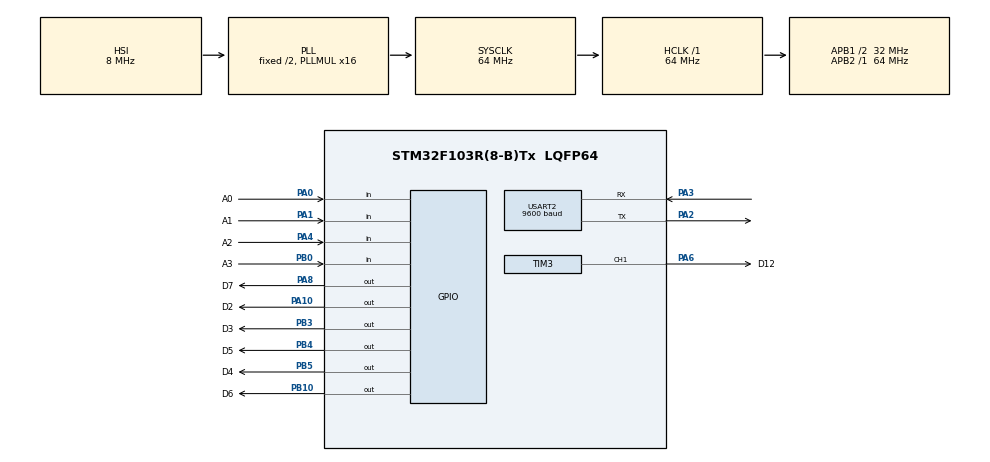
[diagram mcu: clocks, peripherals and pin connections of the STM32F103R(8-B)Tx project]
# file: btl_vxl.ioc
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Mcu.Family=STM32F1
Mcu.Name=STM32F103R(8-B)Tx
Mcu.Package=LQFP64
NVIC.PriorityGroup=NVIC_PRIORITYGROUP_4
NVIC.TIM2_IRQn=true\:0\:0\:false\:false\:true\:true\:true
NVIC.USART2_IRQn=true\:0\:0\:false\:false\:true\:true\:true
PA0-WKUP.GPIO_Label=A0
PA0-WKUP.GPIO_PuPd=GPIO_PULLUP
PA0-WKUP.Signal=GPIO_Input
PA1.GPIO_Label=A1
PA1.GPIO_PuPd=GPIO_PULLUP
PA1.Signal=GPIO_Input
PA10.GPIO_Label=D2
PA10.Signal=GPIO_Output
PA13.Mode=Serial_Wire
PA13.Signal=SYS_JTMS-SWDIO
PA14.Mode=Serial_Wire
PA14.Signal=SYS_JTCK-SWCLK
PA2.Mode=Asynchronous
PA2.Signal=USART2_TX
PA3.Mode=Asynchronous
PA3.Signal=USART2_RX
PA4.GPIO_Label=A2
PA4.GPIO_PuPd=GPIO_PULLUP
PA4.Signal=GPIO_Input
PA6.GPIO_Label=D12
PA6.Signal=S_TIM3_CH1
PA8.GPIO_Label=D7
PA8.Signal=GPIO_Output
PB0.GPIO_Label=A3
PB0.GPIO_PuPd=GPIO_PULLUP
PB0.Signal=GPIO_Input
PB10.GPIO_Label=D6
PB10.Signal=GPIO_Output
PB3.GPIO_Label=D3
PB3.Signal=GPIO_Output
PB4.GPIO_Label=D5
PB4.Signal=GPIO_Output
PB5.GPIO_Label=D4
PB5.Signal=GPIO_Output
ProjectManager.HeapSize=0x200
ProjectManager.StackSize=0x400
ProjectManager.TargetToolchain=STM32CubeIDE
RCC.AHBFreq_Value=64000000
RCC.APB1CLKDivider=RCC_HCLK_DIV2
RCC.APB1Freq_Value=32000000
RCC.APB1TimFreq_Value=64000000
RCC.APB2Freq_Value=64000000
RCC.APB2TimFreq_Value=64000000
RCC.HCLKFreq_Value=64000000
RCC.PLLMUL=RCC_PLL_MUL16
RCC.SYSCLKFreq_VALUE=64000000
RCC.SYSCLKSource=RCC_SYSCLKSOURCE_PLLCLK
RCC.USBFreq_Value=64000000
SH.S_TIM3_CH1.0=TIM3_CH1,PWM Generation1 CH1
TIM2.Period=10
TIM2.Prescaler=63999
TIM3.Channel-PWM\ Generation1\ CH1=TIM_CHANNEL_1
USART2.BaudRate=9600
USART2.VirtualMode=VM_ASYNC
VP_TIM2_VS_ClockSourceINT.Mode=Internal
VP_TIM3_VS_ClockSourceINT.Mode=Internal
board=custom

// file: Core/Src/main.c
/* USER CODE BEGIN Header */
/**
  ******************************************************************************
  * @file           : main.c
  * @brief          : Main program body
  ******************************************************************************
  * @attention
  *
  * <h2><center>&copy; Copyright (c) 2022 STMicroelectronics.
  * All rights reserved.</center></h2>
  *
  * This software component is licensed by ST under BSD 3-Clause license,
  * the "License"; You may not use this file except in compliance with the
  * License. You may obtain a copy of the License at:
  *                        opensource.org/licenses/BSD-3-Clause
  *
  ******************************************************************************
  */
/* USER CODE END Header */
#include "main.h"

/* USER CODE BEGIN Includes */
#include "global.h"
#include "fsm_auto.h"
#include "fsm_pedes.h"
#include "fsm_manual.h"
#include "fsm_tuning.h"
#include "stdio.h"

/* USER CODE END Includes */

TIM_HandleTypeDef htim2;
TIM_HandleTypeDef htim3;

UART_HandleTypeDef huart2;

void SystemClock_Config(void);
static void MX_GPIO_Init(void);
static void MX_TIM2_Init(void);
static void MX_USART2_UART_Init(void);
static void MX_TIM3_Init(void);

/* USER CODE BEGIN 0 */
uint8_t temp = 0;

void HAL_UART_RxCpltCallback ( UART_HandleTypeDef * huart ) {
if( huart -> Instance == USART2 ) {
		HAL_UART_Transmit (& huart2 , & temp , 1 , 50) ;
		HAL_UART_Receive_IT (& huart2 , & temp , 1) ;
	}
}

/* USER CODE END 0 */

int main(void)
{

  /* MCU Configuration--------------------------------------------------------*/

  /* Reset of all peripherals, Initializes the Flash interface and the Systick. */
  HAL_Init();

  /* Configure the system clock */
  SystemClock_Config();

  /* Initialize all configured peripherals */
  MX_GPIO_Init();
  MX_TIM2_Init();
  MX_USART2_UART_Init();
  MX_TIM3_Init();
  /* USER CODE BEGIN 2 */
//  HAL_UART_Receive_IT (& huart2 , & temp , 1) ;
  HAL_TIM_Base_Start_IT(&htim2);
  HAL_TIM_PWM_Start(&htim3, TIM_CHANNEL_1);
  /* USER CODE END 2 */

  /* Infinite loop */
  /* USER CODE BEGIN WHILE */
  status = INIT;
  status_pedes = INIT_PEDES;
  setTimer4(1000);
  while (1)
  {
	  fsm_auto_run();
  	  fsm_manual_run();
  	  fsm_pedes_run();
  	  fsm_tuning_run();
    /* USER CODE END WHILE */

  }
}

void SystemClock_Config(void)
{
  RCC_OscInitTypeDef RCC_OscInitStruct = {0};
  RCC_ClkInitTypeDef RCC_ClkInitStruct = {0};

  /** Initializes the RCC Oscillators according to the specified parameters
  * in the RCC_OscInitTypeDef structure.
  */
  RCC_OscInitStruct.OscillatorType = RCC_OSCILLATORTYPE_HSI;
  RCC_OscInitStruct.HSIState = RCC_HSI_ON;
  RCC_OscInitStruct.HSICalibrationValue = RCC_HSICALIBRATION_DEFAULT;
  RCC_OscInitStruct.PLL.PLLState = RCC_PLL_ON;
  RCC_OscInitStruct.PLL.PLLSource = RCC_PLLSOURCE_HSI_DIV2;
  RCC_OscInitStruct.PLL.PLLMUL = RCC_PLL_MUL16;
  if (HAL_RCC_OscConfig(&RCC_OscInitStruct) != HAL_OK)
  {
    Error_Handler();
  }
  /** Initializes the CPU, AHB and APB buses clocks
  */
  RCC_ClkInitStruct.ClockType = RCC_CLOCKTYPE_HCLK|RCC_CLOCKTYPE_SYSCLK
                              |RCC_CLOCKTYPE_PCLK1|RCC_CLOCKTYPE_PCLK2;
  RCC_ClkInitStruct.SYSCLKSource = RCC_SYSCLKSOURCE_PLLCLK;
  RCC_ClkInitStruct.AHBCLKDivider = RCC_SYSCLK_DIV1;
  RCC_ClkInitStruct.APB1CLKDivider = RCC_HCLK_DIV2;
  RCC_ClkInitStruct.APB2CLKDivider = RCC_HCLK_DIV1;

  if (HAL_RCC_ClockConfig(&RCC_ClkInitStruct, FLASH_LATENCY_2) != HAL_OK)
  {
    Error_Handler();
  }
}

static void MX_TIM2_Init(void)
{

  TIM_ClockConfigTypeDef sClockSourceConfig = {0};
  TIM_MasterConfigTypeDef sMasterConfig = {0};

  htim2.Instance = TIM2;
  htim2.Init.Prescaler = 63999;
  htim2.Init.CounterMode = TIM_COUNTERMODE_UP;
  htim2.Init.Period = 10;
  htim2.Init.ClockDivision = TIM_CLOCKDIVISION_DIV1;
  htim2.Init.AutoReloadPreload = TIM_AUTORELOAD_PRELOAD_DISABLE;
  if (HAL_TIM_Base_Init(&htim2) != HAL_OK)
  {
    Error_Handler();
  }
  sClockSourceConfig.ClockSource = TIM_CLOCKSOURCE_INTERNAL;
  if (HAL_TIM_ConfigClockSource(&htim2, &sClockSourceConfig) != HAL_OK)
  {
    Error_Handler();
  }
  sMasterConfig.MasterOutputTrigger = TIM_TRGO_RESET;
  sMasterConfig.MasterSlaveMode = TIM_MASTERSLAVEMODE_DISABLE;
  if (HAL_TIMEx_MasterConfigSynchronization(&htim2, &sMasterConfig) != HAL_OK)
  {
    Error_Handler();
  }

}

static void MX_TIM3_Init(void)
{

  TIM_ClockConfigTypeDef sClockSourceConfig = {0};
  TIM_MasterConfigTypeDef sMasterConfig = {0};
  TIM_OC_InitTypeDef sConfigOC = {0};

  htim3.Instance = TIM3;
  htim3.Init.Prescaler = 0;
  htim3.Init.CounterMode = TIM_COUNTERMODE_UP;
  htim3.Init.Period = 65535;
  htim3.Init.ClockDivision = TIM_CLOCKDIVISION_DIV1;
  htim3.Init.AutoReloadPreload = TIM_AUTORELOAD_PRELOAD_DISABLE;
  if (HAL_TIM_Base_Init(&htim3) != HAL_OK)
  {
    Error_Handler();
  }
  sClockSourceConfig.ClockSource = TIM_CLOCKSOURCE_INTERNAL;
  if (HAL_TIM_ConfigClockSource(&htim3, &sClockSourceConfig) != HAL_OK)
  {
    Error_Handler();
  }
  if (HAL_TIM_PWM_Init(&htim3) != HAL_OK)
  {
    Error_Handler();
  }
  sMasterConfig.MasterOutputTrigger = TIM_TRGO_RESET;
  sMasterConfig.MasterSlaveMode = TIM_MASTERSLAVEMODE_DISABLE;
  if (HAL_TIMEx_MasterConfigSynchronization(&htim3, &sMasterConfig) != HAL_OK)
  {
    Error_Handler();
  }
  sConfigOC.OCMode = TIM_OCMODE_PWM1;
  sConfigOC.Pulse = 0;
  sConfigOC.OCPolarity = TIM_OCPOLARITY_HIGH;
  sConfigOC.OCFastMode = TIM_OCFAST_DISABLE;
  if (HAL_TIM_PWM_ConfigChannel(&htim3, &sConfigOC, TIM_CHANNEL_1) != HAL_OK)
  {
    Error_Handler();
  }
  HAL_TIM_MspPostInit(&htim3);

}

static void MX_USART2_UART_Init(void)
{

  huart2.Instance = USART2;
  huart2.Init.BaudRate = 9600;
  huart2.Init.WordLength = UART_WORDLENGTH_8B;
  huart2.Init.StopBits = UART_STOPBITS_1;
  huart2.Init.Parity = UART_PARITY_NONE;
  huart2.Init.Mode = UART_MODE_TX_RX;
  huart2.Init.HwFlowCtl = UART_HWCONTROL_NONE;
  huart2.Init.OverSampling = UART_OVERSAMPLING_16;
  if (HAL_UART_Init(&huart2) != HAL_OK)
  {
    Error_Handler();
  }

}

static void MX_GPIO_Init(void)
{
  GPIO_InitTypeDef GPIO_InitStruct = {0};

  /* GPIO Ports Clock Enable */
  __HAL_RCC_GPIOA_CLK_ENABLE();
  __HAL_RCC_GPIOB_CLK_ENABLE();

  /*Configure GPIO pin Output Level */
  HAL_GPIO_WritePin(GPIOB, D6_Pin|D3_Pin|D5_Pin|D4_Pin, GPIO_PIN_RESET);

  /*Configure GPIO pin Output Level */
  HAL_GPIO_WritePin(GPIOA, D7_Pin|D2_Pin, GPIO_PIN_RESET);

  /*Configure GPIO pins : A0_Pin A1_Pin A2_Pin */
  GPIO_InitStruct.Pin = A0_Pin|A1_Pin|A2_Pin;
  GPIO_InitStruct.Mode = GPIO_MODE_INPUT;
  GPIO_InitStruct.Pull = GPIO_PULLUP;
  HAL_GPIO_Init(GPIOA, &GPIO_InitStruct);

  /*Configure GPIO pin : A3_Pin */
  GPIO_InitStruct.Pin = A3_Pin;
  GPIO_InitStruct.Mode = GPIO_MODE_INPUT;
  GPIO_InitStruct.Pull = GPIO_PULLUP;
  HAL_GPIO_Init(A3_GPIO_Port, &GPIO_InitStruct);

  /*Configure GPIO pins : D6_Pin D3_Pin D5_Pin D4_Pin */
  GPIO_InitStruct.Pin = D6_Pin|D3_Pin|D5_Pin|D4_Pin;
  GPIO_InitStruct.Mode = GPIO_MODE_OUTPUT_PP;
  GPIO_InitStruct.Pull = GPIO_NOPULL;
  GPIO_InitStruct.Speed = GPIO_SPEED_FREQ_LOW;
  HAL_GPIO_Init(GPIOB, &GPIO_InitStruct);

  /*Configure GPIO pins : D7_Pin D2_Pin */
  GPIO_InitStruct.Pin = D7_Pin|D2_Pin;
  GPIO_InitStruct.Mode = GPIO_MODE_OUTPUT_PP;
  GPIO_InitStruct.Pull = GPIO_NOPULL;
  GPIO_InitStruct.Speed = GPIO_SPEED_FREQ_LOW;
  HAL_GPIO_Init(GPIOA, &GPIO_InitStruct);

}

/* USER CODE BEGIN 4 */
void HAL_TIM_PeriodElapsedCallback(TIM_HandleTypeDef *htim){
	button_read();
	timerRun();
}

/* USER CODE END 4 */

void Error_Handler(void)
{
  __disable_irq();
  while (1)
  {
  }
}

/************************ (C) COPYRIGHT STMicroelectronics *****END OF FILE****/
